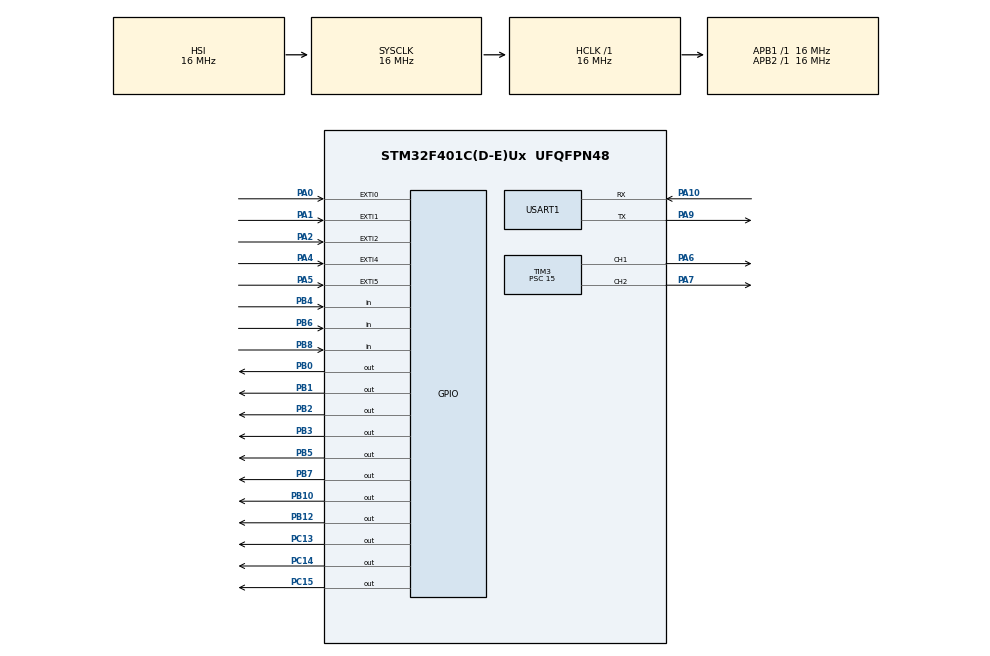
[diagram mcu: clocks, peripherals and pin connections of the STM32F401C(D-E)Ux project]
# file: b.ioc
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Mcu.Family=STM32F4
Mcu.Name=STM32F401C(D-E)Ux
Mcu.Package=UFQFPN48
NVIC.EXTI0_IRQn=true\:0\:0\:false\:false\:true\:true\:true\:true
NVIC.EXTI1_IRQn=true\:0\:0\:false\:false\:true\:true\:true\:true
NVIC.EXTI2_IRQn=true\:0\:0\:false\:false\:true\:true\:true\:true
NVIC.EXTI4_IRQn=true\:0\:0\:false\:false\:true\:true\:true\:true
NVIC.EXTI9_5_IRQn=true\:0\:0\:false\:false\:true\:true\:true\:true
NVIC.PriorityGroup=NVIC_PRIORITYGROUP_4
PA0-WKUP.GPIO_ModeDefaultEXTI=GPIO_MODE_IT_FALLING
PA0-WKUP.Signal=GPXTI0
PA1.GPIO_ModeDefaultEXTI=GPIO_MODE_IT_FALLING
PA1.Signal=GPXTI1
PA10.Mode=Asynchronous
PA10.Signal=USART1_RX
PA13.Mode=Serial_Wire
PA13.Signal=SYS_JTMS-SWDIO
PA14.Mode=Serial_Wire
PA14.Signal=SYS_JTCK-SWCLK
PA2.GPIO_ModeDefaultEXTI=GPIO_MODE_IT_FALLING
PA2.Signal=GPXTI2
PA4.Signal=GPXTI4
PA5.Signal=GPXTI5
PA6.Signal=S_TIM3_CH1
PA7.Signal=S_TIM3_CH2
PA9.Mode=Asynchronous
PA9.Signal=USART1_TX
PB0.Signal=GPIO_Output
PB1.Signal=GPIO_Output
PB10.Signal=GPIO_Output
PB12.Signal=GPIO_Output
PB2.Signal=GPIO_Output
PB3.Signal=GPIO_Output
PB4.Signal=GPIO_Input
PB5.Signal=GPIO_Output
PB6.Signal=GPIO_Input
PB7.Signal=GPIO_Output
PB8.Signal=GPIO_Input
PC13-ANTI_TAMP.Signal=GPIO_Output
PC14-OSC32_IN.GPIO_ModeDefaultOutputPP=GPIO_MODE_OUTPUT_OD
PC14-OSC32_IN.GPIO_PuPd=GPIO_PULLUP
PC14-OSC32_IN.Signal=GPIO_Output
PC15-OSC32_OUT.GPIO_ModeDefaultOutputPP=GPIO_MODE_OUTPUT_OD
PC15-OSC32_OUT.GPIO_PuPd=GPIO_PULLUP
PC15-OSC32_OUT.Signal=GPIO_Output
PH0\ -\ OSC_IN.Mode=HSE-External-Oscillator
PH0\ -\ OSC_IN.Signal=RCC_OSC_IN
PH1\ -\ OSC_OUT.Mode=HSE-External-Oscillator
PH1\ -\ OSC_OUT.Signal=RCC_OSC_OUT
ProjectManager.HeapSize=0x200
ProjectManager.StackSize=0x400
ProjectManager.TargetToolchain=STM32CubeIDE
RCC.AHBFreq_Value=16000000
RCC.APB1Freq_Value=16000000
RCC.APB2Freq_Value=16000000
RCC.CortexFreq_Value=16000000
RCC.HSE_VALUE=25000000
RCC.HSI_VALUE=16000000
RCC.LSE_VALUE=32768
RCC.SYSCLKFreq_VALUE=16000000
RCC.VCOOutputFreq_Value=192000000
SH.S_TIM3_CH1.0=TIM3_CH1,PWM Generation1 CH1
SH.S_TIM3_CH2.0=TIM3_CH2,PWM Generation2 CH2
TIM3.Channel-PWM\ Generation1\ CH1=TIM_CHANNEL_1
TIM3.Channel-PWM\ Generation2\ CH2=TIM_CHANNEL_2
TIM3.Period=999
TIM3.Prescaler=15
USART1.VirtualMode=VM_ASYNC
board=custom

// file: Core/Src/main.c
/* USER CODE BEGIN Header */
/**
  ******************************************************************************
  * @file           : main.c
  * @brief          : Main program body
  ******************************************************************************
  * @attention
  *
  * Copyright (c) 2026 STMicroelectronics.
  * All rights reserved.
  *
  * This software is licensed under terms that can be found in the LICENSE file
  * in the root directory of this software component.
  * If no LICENSE file comes with this software, it is provided AS-IS.
  *
  ******************************************************************************
  */
/* USER CODE END Header */
#include "main.h"

/* USER CODE BEGIN Includes */
#include <stdio.h>
# include "mpu6050.h"
# include <math.h>
/* USER CODE END Includes */

/* USER CODE BEGIN PTD */
typedef struct {
  uint32_t right;
  uint32_t middle;
  uint32_t left;
} UltrasonicReading;

typedef enum {
  DRIVE_RESULT_RIGHT_OPEN,
  DRIVE_RESULT_FRONT_WALL
} DriveResult;

/* USER CODE END PTD */

/* USER CODE BEGIN PD */
#define WALL_DETECT_CM 10   // ultrasonic reading above this = opening (no wall); at/below = wall present - tune by testing
/* USER CODE END PD */

TIM_HandleTypeDef htim3;

UART_HandleTypeDef huart1;

/* USER CODE BEGIN PV */
volatile uint32_t leftPulseCount = 0;
volatile uint32_t rightPulseCount = 0;
volatile uint32_t leftTotalCount = 0;
volatile uint32_t rightTotalCount = 0;
volatile uint8_t irLeftTriggered = 0;
volatile uint8_t irCenterTriggered = 0;
volatile uint8_t irRightTriggered = 0;

int32_t total_error = 0;
int32_t error = 0;
int32_t correction = 0;
static uint8_t solved = 0;

volatile float manual_max_dps = 0.0f;
volatile float manual_min_dps = 0.0f;
volatile uint8_t dps_is_saturated = 0;

/* USER CODE END PV */

void SystemClock_Config(void);
static void MX_GPIO_Init(void);
static void MX_TIM3_Init(void);
static void MX_USART1_UART_Init(void);
/* USER CODE BEGIN PFP */
void DriveUntil(int8_t leftDir, int8_t rightDir, uint32_t targetPulses);
void MoveForward(uint32_t targetPulses);
uint32_t PulsesForAngle(float angleDegrees);
void MazeSolveStep(void);
void TurnRight(float angleDegrees);
void TurnLeft(float angleDegrees);
static void DWT_Init(void);
static void DelayMicroseconds(uint32_t us);
uint32_t ReadUltrasonicCM(GPIO_TypeDef* trigPort, uint16_t trigPin, GPIO_TypeDef* echoPort, uint16_t echoPin);
UltrasonicReading ReadAllUltrasonic(void);
DriveResult DriveForwardAdaptive(void);
void take_turn(int8_t dir, float angle);
void take_turn_2(int8_t dir, float angle);
void check_gyro_saturation_manual(void);
void TestFreewheel(uint32_t speed, uint8_t useBrake);

/* USER CODE END PFP */

int main(void)
{

  /* MCU Configuration--------------------------------------------------------*/

  /* Reset of all peripherals, Initializes the Flash interface and the Systick. */
  HAL_Init();

  /* Configure the system clock */
  SystemClock_Config();

  /* Initialize all configured peripherals */
  MX_GPIO_Init();
  MX_TIM3_Init();
  MX_USART1_UART_Init();
  /* USER CODE BEGIN 2 */
  HAL_GPIO_WritePin(GPIOC, GPIO_PIN_13, GPIO_PIN_SET);
  DWT_Init();
  MPU6050_Init();

  HAL_TIM_PWM_Start(&htim3, TIM_CHANNEL_1);   // PWMB - PA6
  HAL_TIM_PWM_Start(&htim3, TIM_CHANNEL_2);   // PWMA - PA7

  HAL_GPIO_WritePin(GPIOB, GPIO_PIN_12, GPIO_PIN_SET);   // STBY = HIGH (enable driver)

  // Motor A forward: AIN1=1, AIN2=0
  HAL_GPIO_WritePin(GPIOB, GPIO_PIN_1, GPIO_PIN_SET);
  HAL_GPIO_WritePin(GPIOB, GPIO_PIN_0, GPIO_PIN_RESET);

  // Motor B forward: BIN1=1, BIN2=0
  HAL_GPIO_WritePin(GPIOB, GPIO_PIN_2, GPIO_PIN_SET);
  HAL_GPIO_WritePin(GPIOB, GPIO_PIN_10, GPIO_PIN_RESET);

  HAL_Delay(2000);   // 5 second delay before motors start

  //TestFreewheel(400,1); // to test free wheell
  //HAL_Delay(5000);

  //MoveForward(200);
  //HAL_Delay(100);

//	take_turn(1, 90.0);
//	HAL_Delay(300);
//	take_turn(1, 90.0);
//	HAL_Delay(300);
//	take_turn(1, 90.0);
//	HAL_Delay(300);
//	take_turn(1, 90.0);
//	HAL_Delay(300);

//  take_turn_2(1,90.0);
//  HAL_Delay(300);
//  take_turn_2(1,90.0);
//  HAL_Delay(3000);
//
//  take_turn_2(1,180.0);
//  HAL_Delay(300);
//  take_turn_2(1,180.0);
//  HAL_Delay(300);

//  check_gyro_saturation_manual();

//  uint8_t gyroConfig = MPU6050_ReadRegister(0x1B);
//  char msg[32];
//  int len = snprintf(msg, sizeof(msg), "GYRO_CONFIG: 0x%02X\r\n", gyroConfig);
//  HAL_UART_Transmit(&huart1, (uint8_t*)msg, len, 100);

  //__HAL_TIM_SET_COMPARE(&htim3, TIM_CHANNEL_1, 480); // Motor B speed (~50%)
  //__HAL_TIM_SET_COMPARE(&htim3, TIM_CHANNEL_2, 500); // Motor A speed (~50%)

  /* USER CODE END 2 */

  /* Infinite loop */
  /* USER CODE BEGIN WHILE */
  uint32_t lastLedToggle = 0;
  uint32_t lastUltrasonicRead = 0;
  uint32_t last_gyro_check = 0;
  float read_gyro_dps = 0;

  while (1)
  {
    /* USER CODE END WHILE */

    /* USER CODE BEGIN 3 */
	  if (solved)
	      {
	        HAL_GPIO_WritePin(GPIOC, GPIO_PIN_13, GPIO_PIN_RESET);  // LED solid on = done
	        continue;
	      }
	  else
	  {
		  MazeSolveStep();
	  }

    uint32_t now = HAL_GetTick();

		if (now - lastLedToggle >= 200)
		{
			lastLedToggle = now;
			HAL_GPIO_TogglePin(GPIOC, GPIO_PIN_13);
		}

  }
  /* USER CODE END 3 */
}

void SystemClock_Config(void)
{
  RCC_OscInitTypeDef RCC_OscInitStruct = {0};
  RCC_ClkInitTypeDef RCC_ClkInitStruct = {0};

  /** Configure the main internal regulator output voltage
  */
  __HAL_RCC_PWR_CLK_ENABLE();
  __HAL_PWR_VOLTAGESCALING_CONFIG(PWR_REGULATOR_VOLTAGE_SCALE2);

  /** Initializes the RCC Oscillators according to the specified parameters
  * in the RCC_OscInitTypeDef structure.
  */
  RCC_OscInitStruct.OscillatorType = RCC_OSCILLATORTYPE_HSI;
  RCC_OscInitStruct.HSIState = RCC_HSI_ON;
  RCC_OscInitStruct.HSICalibrationValue = RCC_HSICALIBRATION_DEFAULT;
  RCC_OscInitStruct.PLL.PLLState = RCC_PLL_NONE;
  if (HAL_RCC_OscConfig(&RCC_OscInitStruct) != HAL_OK)
  {
    Error_Handler();
  }

  /** Initializes the CPU, AHB and APB buses clocks
  */
  RCC_ClkInitStruct.ClockType = RCC_CLOCKTYPE_HCLK|RCC_CLOCKTYPE_SYSCLK
                              |RCC_CLOCKTYPE_PCLK1|RCC_CLOCKTYPE_PCLK2;
  RCC_ClkInitStruct.SYSCLKSource = RCC_SYSCLKSOURCE_HSI;
  RCC_ClkInitStruct.AHBCLKDivider = RCC_SYSCLK_DIV1;
  RCC_ClkInitStruct.APB1CLKDivider = RCC_HCLK_DIV1;
  RCC_ClkInitStruct.APB2CLKDivider = RCC_HCLK_DIV1;

  if (HAL_RCC_ClockConfig(&RCC_ClkInitStruct, FLASH_LATENCY_0) != HAL_OK)
  {
    Error_Handler();
  }
}

static void MX_TIM3_Init(void)
{

  TIM_MasterConfigTypeDef sMasterConfig = {0};
  TIM_OC_InitTypeDef sConfigOC = {0};

  htim3.Instance = TIM3;
  htim3.Init.Prescaler = 15;
  htim3.Init.CounterMode = TIM_COUNTERMODE_UP;
  htim3.Init.Period = 999;
  htim3.Init.ClockDivision = TIM_CLOCKDIVISION_DIV1;
  htim3.Init.AutoReloadPreload = TIM_AUTORELOAD_PRELOAD_DISABLE;
  if (HAL_TIM_PWM_Init(&htim3) != HAL_OK)
  {
    Error_Handler();
  }
  sMasterConfig.MasterOutputTrigger = TIM_TRGO_RESET;
  sMasterConfig.MasterSlaveMode = TIM_MASTERSLAVEMODE_DISABLE;
  if (HAL_TIMEx_MasterConfigSynchronization(&htim3, &sMasterConfig) != HAL_OK)
  {
    Error_Handler();
  }
  sConfigOC.OCMode = TIM_OCMODE_PWM1;
  sConfigOC.Pulse = 0;
  sConfigOC.OCPolarity = TIM_OCPOLARITY_HIGH;
  sConfigOC.OCFastMode = TIM_OCFAST_DISABLE;
  if (HAL_TIM_PWM_ConfigChannel(&htim3, &sConfigOC, TIM_CHANNEL_1) != HAL_OK)
  {
    Error_Handler();
  }
  if (HAL_TIM_PWM_ConfigChannel(&htim3, &sConfigOC, TIM_CHANNEL_2) != HAL_OK)
  {
    Error_Handler();
  }
  HAL_TIM_MspPostInit(&htim3);

}

static void MX_USART1_UART_Init(void)
{

  huart1.Instance = USART1;
  huart1.Init.BaudRate = 115200;
  huart1.Init.WordLength = UART_WORDLENGTH_8B;
  huart1.Init.StopBits = UART_STOPBITS_1;
  huart1.Init.Parity = UART_PARITY_NONE;
  huart1.Init.Mode = UART_MODE_TX_RX;
  huart1.Init.HwFlowCtl = UART_HWCONTROL_NONE;
  huart1.Init.OverSampling = UART_OVERSAMPLING_16;
  if (HAL_UART_Init(&huart1) != HAL_OK)
  {
    Error_Handler();
  }

}

static void MX_GPIO_Init(void)
{
  GPIO_InitTypeDef GPIO_InitStruct = {0};

  /* GPIO Ports Clock Enable */
  __HAL_RCC_GPIOC_CLK_ENABLE();
  __HAL_RCC_GPIOH_CLK_ENABLE();
  __HAL_RCC_GPIOA_CLK_ENABLE();
  __HAL_RCC_GPIOB_CLK_ENABLE();

  /*Configure GPIO pin Output Level */
  HAL_GPIO_WritePin(GPIOC, GPIO_PIN_13|GPIO_PIN_14|GPIO_PIN_15, GPIO_PIN_RESET);

  /*Configure GPIO pin Output Level */
  HAL_GPIO_WritePin(GPIOB, GPIO_PIN_0|GPIO_PIN_1|GPIO_PIN_2|GPIO_PIN_10
                          |GPIO_PIN_12|GPIO_PIN_3|GPIO_PIN_5|GPIO_PIN_7, GPIO_PIN_RESET);

  /*Configure GPIO pin : PC13 */
  GPIO_InitStruct.Pin = GPIO_PIN_13;
  GPIO_InitStruct.Mode = GPIO_MODE_OUTPUT_PP;
  GPIO_InitStruct.Pull = GPIO_NOPULL;
  GPIO_InitStruct.Speed = GPIO_SPEED_FREQ_LOW;
  HAL_GPIO_Init(GPIOC, &GPIO_InitStruct);

  /*Configure GPIO pins : PC14 PC15 */
  GPIO_InitStruct.Pin = GPIO_PIN_14|GPIO_PIN_15;
  GPIO_InitStruct.Mode = GPIO_MODE_OUTPUT_OD;
  GPIO_InitStruct.Pull = GPIO_PULLUP;
  GPIO_InitStruct.Speed = GPIO_SPEED_FREQ_LOW;
  HAL_GPIO_Init(GPIOC, &GPIO_InitStruct);

  /*Configure GPIO pins : PA0 PA1 PA2 */
  GPIO_InitStruct.Pin = GPIO_PIN_0|GPIO_PIN_1|GPIO_PIN_2;
  GPIO_InitStruct.Mode = GPIO_MODE_IT_FALLING;
  GPIO_InitStruct.Pull = GPIO_NOPULL;
  HAL_GPIO_Init(GPIOA, &GPIO_InitStruct);

  /*Configure GPIO pins : PA4 PA5 */
  GPIO_InitStruct.Pin = GPIO_PIN_4|GPIO_PIN_5;
  GPIO_InitStruct.Mode = GPIO_MODE_IT_RISING;
  GPIO_InitStruct.Pull = GPIO_NOPULL;
  HAL_GPIO_Init(GPIOA, &GPIO_InitStruct);

  /*Configure GPIO pins : PB0 PB1 PB2 PB10
                           PB12 PB3 PB5 PB7 */
  GPIO_InitStruct.Pin = GPIO_PIN_0|GPIO_PIN_1|GPIO_PIN_2|GPIO_PIN_10
                          |GPIO_PIN_12|GPIO_PIN_3|GPIO_PIN_5|GPIO_PIN_7;
  GPIO_InitStruct.Mode = GPIO_MODE_OUTPUT_PP;
  GPIO_InitStruct.Pull = GPIO_NOPULL;
  GPIO_InitStruct.Speed = GPIO_SPEED_FREQ_LOW;
  HAL_GPIO_Init(GPIOB, &GPIO_InitStruct);

  /*Configure GPIO pins : PB4 PB6 PB8 */
  GPIO_InitStruct.Pin = GPIO_PIN_4|GPIO_PIN_6|GPIO_PIN_8;
  GPIO_InitStruct.Mode = GPIO_MODE_INPUT;
  GPIO_InitStruct.Pull = GPIO_NOPULL;
  HAL_GPIO_Init(GPIOB, &GPIO_InitStruct);

  /* EXTI interrupt init*/
  HAL_NVIC_SetPriority(EXTI0_IRQn, 0, 0);
  HAL_NVIC_EnableIRQ(EXTI0_IRQn);

  HAL_NVIC_SetPriority(EXTI1_IRQn, 0, 0);
  HAL_NVIC_EnableIRQ(EXTI1_IRQn);

  HAL_NVIC_SetPriority(EXTI2_IRQn, 0, 0);
  HAL_NVIC_EnableIRQ(EXTI2_IRQn);

  HAL_NVIC_SetPriority(EXTI4_IRQn, 0, 0);
  HAL_NVIC_EnableIRQ(EXTI4_IRQn);

  HAL_NVIC_SetPriority(EXTI9_5_IRQn, 0, 0);
  HAL_NVIC_EnableIRQ(EXTI9_5_IRQn);

  /* USER CODE BEGIN MX_GPIO_Init_2 */
  __HAL_RCC_GPIOB_CLK_ENABLE();

  GPIO_InitStruct.Pin = GPIO_PIN_0 | GPIO_PIN_1 | GPIO_PIN_10; // AIN1, AIN2, STBY
  GPIO_InitStruct.Mode = GPIO_MODE_OUTPUT_PP;
  GPIO_InitStruct.Pull = GPIO_NOPULL;
  GPIO_InitStruct.Speed = GPIO_SPEED_FREQ_LOW;
  HAL_GPIO_Init(GPIOB, &GPIO_InitStruct);
  /* USER CODE END MX_GPIO_Init_2 */
}

/* USER CODE BEGIN 4 */
void HAL_GPIO_EXTI_Callback(uint16_t GPIO_Pin)
{
  if (GPIO_Pin == GPIO_PIN_4) { leftPulseCount++; leftTotalCount++; }
  else if (GPIO_Pin == GPIO_PIN_5) { rightPulseCount++; rightTotalCount++; }
  else if (GPIO_Pin == GPIO_PIN_0) { irRightTriggered = 1; }
  else if (GPIO_Pin == GPIO_PIN_1) { irCenterTriggered = 1; }
  else if (GPIO_Pin == GPIO_PIN_2) { irLeftTriggered = 1; }
}

// leftDir/rightDir: +1 = forward, -1 = backward, 0 = stopped (for future use)
void DriveUntil(int8_t leftDir, int8_t rightDir, uint32_t targetPulses)
{
  // Set left wheel (Motor B) direction
  if (leftDir > 0)      { HAL_GPIO_WritePin(GPIOB, GPIO_PIN_2, GPIO_PIN_SET);   HAL_GPIO_WritePin(GPIOB, GPIO_PIN_10, GPIO_PIN_RESET); }
  else if (leftDir < 0)  { HAL_GPIO_WritePin(GPIOB, GPIO_PIN_2, GPIO_PIN_RESET); HAL_GPIO_WritePin(GPIOB, GPIO_PIN_10, GPIO_PIN_SET); }

  // Set right wheel (Motor A) direction
  if (rightDir > 0)      { HAL_GPIO_WritePin(GPIOB, GPIO_PIN_1, GPIO_PIN_SET);   HAL_GPIO_WritePin(GPIOB, GPIO_PIN_0, GPIO_PIN_RESET); }
  else if (rightDir < 0)  { HAL_GPIO_WritePin(GPIOB, GPIO_PIN_1, GPIO_PIN_RESET); HAL_GPIO_WritePin(GPIOB, GPIO_PIN_0, GPIO_PIN_SET); }

  uint32_t startLeft  = leftTotalCount;
  uint32_t startRight = rightTotalCount;

  uint32_t BASE_SPEED = 400;   // <-- change this one value to adjust speed everywhere below

  uint32_t lastControlTime = HAL_GetTick();
  float integral = 0.0f;
  float lastError = 0.0f;
  const float Kp = 30.0f;
  const float Ki = 30.0f;
  const float Kd = 0.0f;
  const float INTEGRAL_LIMIT = 300.0f;
  uint32_t baseDutyLeft  = BASE_SPEED;
  uint32_t baseDutyRight = BASE_SPEED;

  // centering state - only active during straight moves, not turns
	uint32_t lastCenteringCheck = HAL_GetTick();
	float center_integral = 0.0f;
	float center_lastError = 0.0f;
	const float centerKp = 10.0f;
	const float centerKi = 5.0f;
	const float centerKd = 5.0f;
	const float CENTRAL_INTEGRAL_LIMIT = 200.0f;
	const uint32_t CENTERING_MAX_RANGE = 35;  // cm - ignore readings beyond this (no wall in range)
	uint8_t centeringEnabled = 0; // disabling centering

  int leftDone = 0, rightDone = 0;

  while (!leftDone || !rightDone)
  {
    uint32_t now = HAL_GetTick();

    if (centeringEnabled && (now - lastCenteringCheck >= 100))
    {
      lastCenteringCheck = now;

      uint32_t leftDist  = ReadUltrasonicCM(GPIOB, GPIO_PIN_5, GPIOB, GPIO_PIN_6);
      uint32_t rightDist = ReadUltrasonicCM(GPIOB, GPIO_PIN_3, GPIOB, GPIO_PIN_4);

      if (leftDist <= CENTERING_MAX_RANGE && rightDist <= CENTERING_MAX_RANGE)
      {
        int32_t centerError = (int32_t)leftDist - (int32_t)rightDist;

        center_integral += (float)centerError;

        if (center_integral > CENTRAL_INTEGRAL_LIMIT)  center_integral = CENTRAL_INTEGRAL_LIMIT;
        if (center_integral < -CENTRAL_INTEGRAL_LIMIT) center_integral = -CENTRAL_INTEGRAL_LIMIT;

        float centre_derivative = (float)centerError - center_lastError;
        center_lastError = centerError;
        int32_t centerBias  = (int32_t)(centerKp * (float)centerError + centerKi * center_integral + centerKd * centre_derivative);

        baseDutyLeft  = BASE_SPEED - centerBias;
        baseDutyRight = BASE_SPEED + centerBias;
      }
    }

    if (now - lastControlTime >= 1)
    {
      lastControlTime = now;

      __disable_irq();
      uint32_t left  = leftPulseCount;
      uint32_t right = rightPulseCount;
      leftPulseCount = 0;
      rightPulseCount = 0;
      __enable_irq();

      error = (int32_t)left - (int32_t)right;
      integral += (float)error;
      if (integral > INTEGRAL_LIMIT)  integral = INTEGRAL_LIMIT;
      if (integral < -INTEGRAL_LIMIT) integral = -INTEGRAL_LIMIT;

      float derivative = (float)error - lastError;
      lastError = (float)error;

      correction = (int32_t)(Kp * (float)error + Ki * integral + Kd * derivative);

      int32_t leftDuty, rightDuty;

      if (!leftDone && !rightDone)
      {
        // normal case: both still moving, use PI correction as before
        leftDuty  = (int32_t)baseDutyLeft  - correction;
        rightDuty = (int32_t)baseDutyRight + correction;
      }
      else
      {
        // one side already finished - stop cross-correcting, just drive the other plainly
        leftDuty  = leftDone  ? 0 : (int32_t)baseDutyLeft;
        rightDuty = rightDone ? 0 : (int32_t)baseDutyRight;
      }

      if (leftDuty  > 999) leftDuty  = 999;
      if (leftDuty  < 0)   leftDuty  = 0;
      if (rightDuty > 999) rightDuty = 999;
      if (rightDuty < 0)   rightDuty = 0;

      if ((leftTotalCount - startLeft) >= targetPulses)  { leftDuty = 0;  leftDone = 1; }
      if ((rightTotalCount - startRight) >= targetPulses) { rightDuty = 0; rightDone = 1; }

      __HAL_TIM_SET_COMPARE(&htim3, TIM_CHANNEL_1, leftDuty);
      __HAL_TIM_SET_COMPARE(&htim3, TIM_CHANNEL_2, rightDuty);
    }
  }

//  char msg[64];
//  int len = snprintf(msg, sizeof(msg), "DONE left:%lu right:%lu target:%lu\r\n",
//                      (unsigned long)(leftTotalCount - startLeft),
//                      (unsigned long)(rightTotalCount - startRight),
//                      (unsigned long)targetPulses);
//  HAL_UART_Transmit(&huart1, (uint8_t*)msg, len, 100);
}

// Drives forward continuously, using only ultrasonic sensors (right/front/left) - no IR.
// Stops either when the right side opens up (past a small nudge to clear the sensor's
// forward offset) or when the front wall gets within STOP_DISTANCE_CM.

void take_turn_2(int8_t dir, float angle)
{
	float turn_sum = 0;
	uint32_t lastControlTime = HAL_GetTick();
	uint32_t last_gyro_check = HAL_GetTick();
	float integral = 0.0f;
	float lastError = 0.0f;

	// Motor PID constants
	const float Kp = 30.0f;
	const float Ki = 30.0f;
	const float Kd = 0.0f;
	const float INTEGRAL_LIMIT = 300.0f;
	const uint32_t gyro_check = 2;

	// Variable for time - moved to top so it stays in scope after the turn loop
	uint32_t now;

	// Variables for error and correction
	int32_t error = 0;
	int32_t correction = 0;

	// Dynamic Speed Parameters for Proportional Deceleration
	const uint32_t MIN_SPEED = 340;
	const uint32_t MAX_SPEED = 500;
	const float Kp_angle = 5.0f;

	if (dir == 0)
	{
		// Left wheel backward
		HAL_GPIO_WritePin(GPIOB, GPIO_PIN_2, GPIO_PIN_RESET);
		HAL_GPIO_WritePin(GPIOB, GPIO_PIN_10, GPIO_PIN_SET);
		// Right wheel forward
		HAL_GPIO_WritePin(GPIOB, GPIO_PIN_1, GPIO_PIN_SET);
		HAL_GPIO_WritePin(GPIOB, GPIO_PIN_0, GPIO_PIN_RESET);
	} else
	{
		// Left wheel Forward
		HAL_GPIO_WritePin(GPIOB, GPIO_PIN_2, GPIO_PIN_SET);
		HAL_GPIO_WritePin(GPIOB, GPIO_PIN_10, GPIO_PIN_RESET);
		// Right wheel Backward
		HAL_GPIO_WritePin(GPIOB, GPIO_PIN_1, GPIO_PIN_RESET);
		HAL_GPIO_WritePin(GPIOB, GPIO_PIN_0, GPIO_PIN_SET);
	}

	while (fabsf(turn_sum) <= angle - 17.0)
	{
		// --- Dynamic Speed Profiling ---
		// Calculate how many degrees are left to turn
		float angle_remaining = angle - fabsf(turn_sum);

		// Calculate base speed proportionally based on remaining angle
		uint32_t current_base_speed = (uint32_t)(angle_remaining * Kp_angle);

		// Clamp the speed so it doesn't exceed maximum or drop below stall limit
		if (current_base_speed > MAX_SPEED) current_base_speed = MAX_SPEED;
		if (current_base_speed < MIN_SPEED) current_base_speed = MIN_SPEED;

		uint32_t baseDutyLeft  = current_base_speed;
		uint32_t baseDutyRight = current_base_speed;

		now = HAL_GetTick();

		// --- Encoder PID Control ---
		if (now - lastControlTime >= 1)
		{
			lastControlTime = now;

			__disable_irq();
			uint32_t left  = leftPulseCount;
			uint32_t right = rightPulseCount;
			leftPulseCount = 0;
			rightPulseCount = 0;
			__enable_irq();

			error = (int32_t)left - (int32_t)right;
			integral += (float)error;

			// Integral windup guard
			if (integral > INTEGRAL_LIMIT)  integral = INTEGRAL_LIMIT;
			if (integral < -INTEGRAL_LIMIT) integral = -INTEGRAL_LIMIT;

			float derivative = (float)error - lastError;
			lastError = (float)error;

			correction = (int32_t)(Kp * (float)error + Ki * integral + Kd * derivative);

			int32_t leftDuty  = (int32_t)baseDutyLeft  - correction;
			int32_t rightDuty = (int32_t)baseDutyRight + correction;

			if (leftDuty  > 999) leftDuty  = 999;
			if (leftDuty  < 0)   leftDuty  = 0;
			if (rightDuty > 999) rightDuty = 999;
			if (rightDuty < 0)   rightDuty = 0;

			__HAL_TIM_SET_COMPARE(&htim3, TIM_CHANNEL_1, leftDuty);
			__HAL_TIM_SET_COMPARE(&htim3, TIM_CHANNEL_2, rightDuty);
		}

		// --- Gyroscope Angle Integration ---
		if (now - last_gyro_check >= gyro_check)
		{
			float dt = (now - last_gyro_check) * 0.001f;   // actual elapsed ms -> seconds
			last_gyro_check = now;
			turn_sum += MPU6050_ReadGyroZ_DPS() * dt;
		}
	}

	// --- Active Braking ---
	__HAL_TIM_SET_COMPARE(&htim3, TIM_CHANNEL_1, 0);
	__HAL_TIM_SET_COMPARE(&htim3, TIM_CHANNEL_2, 0);

	// Both direction pins HIGH shorts the motor terminals,
	// using back-EMF to kill momentum fast instead of coasting
	HAL_GPIO_WritePin(GPIOB, GPIO_PIN_2, GPIO_PIN_SET);   // BIN1
	HAL_GPIO_WritePin(GPIOB, GPIO_PIN_10, GPIO_PIN_SET);  // BIN2
	HAL_GPIO_WritePin(GPIOB, GPIO_PIN_1, GPIO_PIN_SET);   // AIN1
	HAL_GPIO_WritePin(GPIOB, GPIO_PIN_0, GPIO_PIN_SET);   // AIN2

	// instead of a blind delay, keep recording turn_sum during the brake hold
	uint32_t record_more_start = HAL_GetTick();
	now = HAL_GetTick();
	float turn_sum_extra = turn_sum;
	while (now - record_more_start <= 100)
	{
		now = HAL_GetTick();
		if (now - last_gyro_check >= gyro_check)
		{
			float dt = (now - last_gyro_check) * 0.001f; // actual elapsed ms -> seconds
			last_gyro_check = now;
			turn_sum_extra += MPU6050_ReadGyroZ_DPS() * dt;
		}
	}

	// Release to coast/off afterward so the motors aren't held under load
	HAL_GPIO_WritePin(GPIOB, GPIO_PIN_2, GPIO_PIN_RESET);
	HAL_GPIO_WritePin(GPIOB, GPIO_PIN_10, GPIO_PIN_RESET);
	HAL_GPIO_WritePin(GPIOB, GPIO_PIN_1, GPIO_PIN_RESET);
	HAL_GPIO_WritePin(GPIOB, GPIO_PIN_0, GPIO_PIN_RESET);

	char msg[64];
	int len = snprintf(msg, sizeof(msg), "turn_sum: %.2f | turn_sum_extra: %.2f\r\n", turn_sum, turn_sum_extra);
	HAL_UART_Transmit(&huart1, (uint8_t*)msg, len, 100);
}

// dir-> 0:left , 1 right

void check_gyro_saturation_manual(void)
{
    // 1. Reset the debug variables
    manual_max_dps = 0.0f;
    manual_min_dps = 0.0f;
    dps_is_saturated = 0;

    // 2. Ensure motors are completely off
    __HAL_TIM_SET_COMPARE(&htim3, TIM_CHANNEL_1, 0);
    __HAL_TIM_SET_COMPARE(&htim3, TIM_CHANNEL_2, 0);
    HAL_GPIO_WritePin(GPIOB, GPIO_PIN_2, GPIO_PIN_RESET);
    HAL_GPIO_WritePin(GPIOB, GPIO_PIN_10, GPIO_PIN_RESET);
    HAL_GPIO_WritePin(GPIOB, GPIO_PIN_1, GPIO_PIN_RESET);
    HAL_GPIO_WritePin(GPIOB, GPIO_PIN_0, GPIO_PIN_RESET);

    // 3. Infinite loop to monitor while you spin it by hand
    while (1)
    {
        // Read the actual Degrees Per Second
        float current_dps = MPU6050_ReadGyroZ_DPS();

        // Track the highest and lowest DPS recorded
        if (current_dps > manual_max_dps) manual_max_dps = current_dps;
        if (current_dps < manual_min_dps) manual_min_dps = current_dps;

        // The absolute ceiling is ~1998 dps.
        // We check against 1990 to allow a tiny margin for calibration offsets.
        if (current_dps >= 1990.0f || current_dps <= -1990.0f)
        {
            dps_is_saturated = 1;
        }

        // 2ms delay to simulate your standard polling rate
        HAL_Delay(2);
    }
}

void TestFreewheel(uint32_t speed, uint8_t useBrake)
{
  HAL_GPIO_WritePin(GPIOC, GPIO_PIN_13, GPIO_PIN_SET);
  HAL_Delay(5000);
  // spin both wheels forward
  HAL_GPIO_WritePin(GPIOB, GPIO_PIN_2, GPIO_PIN_SET);   HAL_GPIO_WritePin(GPIOB, GPIO_PIN_10, GPIO_PIN_RESET); // left fwd
  HAL_GPIO_WritePin(GPIOB, GPIO_PIN_1, GPIO_PIN_SET);   HAL_GPIO_WritePin(GPIOB, GPIO_PIN_0, GPIO_PIN_RESET);  // right fwd

  __HAL_TIM_SET_COMPARE(&htim3, TIM_CHANNEL_1, speed);
  __HAL_TIM_SET_COMPARE(&htim3, TIM_CHANNEL_2, speed);

  HAL_Delay(2000);   // spin for 2 seconds

  // cut PWM either way
  __HAL_TIM_SET_COMPARE(&htim3, TIM_CHANNEL_1, 0);
  __HAL_TIM_SET_COMPARE(&htim3, TIM_CHANNEL_2, 0);

  if (useBrake)
  {
    // active brake: both direction pins HIGH shorts the motor terminals
    HAL_GPIO_WritePin(GPIOB, GPIO_PIN_2, GPIO_PIN_SET);
    HAL_GPIO_WritePin(GPIOB, GPIO_PIN_10, GPIO_PIN_SET);
    HAL_GPIO_WritePin(GPIOB, GPIO_PIN_1, GPIO_PIN_SET);
    HAL_GPIO_WritePin(GPIOB, GPIO_PIN_0, GPIO_PIN_SET);

    // LED turns on the instant the brake is applied - watch the wheel starting now
    HAL_GPIO_WritePin(GPIOC, GPIO_PIN_13, GPIO_PIN_RESET);

    HAL_Delay(500);   // hold the brake briefly

    // release afterward so motors aren't held under load
    HAL_GPIO_WritePin(GPIOB, GPIO_PIN_2, GPIO_PIN_RESET);
    HAL_GPIO_WritePin(GPIOB, GPIO_PIN_10, GPIO_PIN_RESET);
    HAL_GPIO_WritePin(GPIOB, GPIO_PIN_1, GPIO_PIN_RESET);
    HAL_GPIO_WritePin(GPIOB, GPIO_PIN_0, GPIO_PIN_RESET);
  }
  else
  {
    // coast: both direction pins LOW
    HAL_GPIO_WritePin(GPIOB, GPIO_PIN_2, GPIO_PIN_RESET);
    HAL_GPIO_WritePin(GPIOB, GPIO_PIN_10, GPIO_PIN_RESET);
    HAL_GPIO_WritePin(GPIOB, GPIO_PIN_1, GPIO_PIN_RESET);
    HAL_GPIO_WritePin(GPIOB, GPIO_PIN_0, GPIO_PIN_RESET);

    // LED turns on the instant power is cut - watch the wheel starting now
    HAL_GPIO_WritePin(GPIOC, GPIO_PIN_13, GPIO_PIN_RESET);
  }
}

// right = 1 , left = 0
void take_turn(int8_t dir, float angle)
{
	float turn_sum = 0;
	uint32_t lastControlTime = HAL_GetTick();
	uint32_t last_gyro_check = HAL_GetTick();
	float integral = 0.0f;
	float lastError = 0.0f;
	const float Kp = 30.0f;
	const float Ki = 30.0f;
	const float Kd = 0.0f;
	const float INTEGRAL_LIMIT = 300.0f;
	const uint32_t gyro_check = 2;

	// Variable for time
	uint32_t now;

	uint32_t BASE_SPEED = 450;   // <-- change this one value to adjust speed everywhere below
	uint32_t baseDutyLeft  = BASE_SPEED;
	uint32_t baseDutyRight = BASE_SPEED;

	if (dir == 0)
	{
		//Left wheel backward
		HAL_GPIO_WritePin(GPIOB, GPIO_PIN_2, GPIO_PIN_RESET);
		HAL_GPIO_WritePin(GPIOB, GPIO_PIN_10, GPIO_PIN_SET);
		// Right wheel forward
		HAL_GPIO_WritePin(GPIOB, GPIO_PIN_1, GPIO_PIN_SET);
		HAL_GPIO_WritePin(GPIOB, GPIO_PIN_0, GPIO_PIN_RESET);
	} else
	{
		// Left wheel Forward
		HAL_GPIO_WritePin(GPIOB, GPIO_PIN_2, GPIO_PIN_SET);
		HAL_GPIO_WritePin(GPIOB, GPIO_PIN_10, GPIO_PIN_RESET);
		//Right wheel Backward
		HAL_GPIO_WritePin(GPIOB, GPIO_PIN_1, GPIO_PIN_RESET);
		HAL_GPIO_WritePin(GPIOB, GPIO_PIN_0, GPIO_PIN_SET);
	}

	while (fabsf(turn_sum) <= angle)
	{
		now = HAL_GetTick();
		if (now - lastControlTime >= 1)
		    {
		      lastControlTime = now;

		      __disable_irq();
		      uint32_t left  = leftPulseCount;
		      uint32_t right = rightPulseCount;
		      leftPulseCount = 0;
		      rightPulseCount = 0;
		      __enable_irq();

		      error = (int32_t)left - (int32_t)right;
		      integral += (float)error;
		      //integral windup
		      if (integral > INTEGRAL_LIMIT)  integral = INTEGRAL_LIMIT;
		      if (integral < -INTEGRAL_LIMIT) integral = -INTEGRAL_LIMIT;

		      float derivative = (float)error - lastError;
		      lastError = (float)error;

		      correction = (int32_t)(Kp * (float)error + Ki * integral + Kd * derivative);

		      int32_t leftDuty  = (int32_t)baseDutyLeft  - correction;
		      int32_t rightDuty = (int32_t)baseDutyRight + correction;

		      if (leftDuty  > 999) leftDuty  = 999;
		      if (leftDuty  < 0)   leftDuty  = 0;
		      if (rightDuty > 999) rightDuty = 999;
		      if (rightDuty < 0)   rightDuty = 0;

			  __HAL_TIM_SET_COMPARE(&htim3, TIM_CHANNEL_1, leftDuty);
			  __HAL_TIM_SET_COMPARE(&htim3, TIM_CHANNEL_2, rightDuty);
	}
		if (now - last_gyro_check >= gyro_check)
		{
			float dt = (now - last_gyro_check) * 0.001f;   // actual elapsed ms -> seconds
			last_gyro_check = now;
			//turn_sum += MPU6050_ReadGyroZ_DPS() * (gyro_check * 0.001f);
			turn_sum += MPU6050_ReadGyroZ_DPS() * dt;
		}

	}
	  __HAL_TIM_SET_COMPARE(&htim3, TIM_CHANNEL_1, 0);
	  __HAL_TIM_SET_COMPARE(&htim3, TIM_CHANNEL_2, 0);
	  // active brake: both direction pins HIGH shorts the motor terminals,
	  // using back-EMF to kill momentum fast instead of coasting
	  HAL_GPIO_WritePin(GPIOB, GPIO_PIN_2, GPIO_PIN_SET);   // BIN1
	  HAL_GPIO_WritePin(GPIOB, GPIO_PIN_10, GPIO_PIN_SET);  // BIN2
	  HAL_GPIO_WritePin(GPIOB, GPIO_PIN_1, GPIO_PIN_SET);   // AIN1
	  HAL_GPIO_WritePin(GPIOB, GPIO_PIN_0, GPIO_PIN_SET);   // AIN2

	  //HAL_Delay(100);   // hold the brake briefly so momentum actually bleeds off
	  uint32_t record_more_start = HAL_GetTick();
	  now = HAL_GetTick();
	  float turn_sum_extra = turn_sum;
	  while (now - record_more_start <= 100)
	  {
		now = HAL_GetTick();
		if (now - last_gyro_check >= gyro_check)
		{
			float dt = (now - last_gyro_check) * 0.001f; // actual elapsed ms -> seconds
			last_gyro_check = now;
			//turn_sum += MPU6050_ReadGyroZ_DPS() * (gyro_check * 0.001f);
			turn_sum_extra += MPU6050_ReadGyroZ_DPS() * dt;
		}

	  }

	  // release to coast/off afterward so the motors aren't held under load
	  HAL_GPIO_WritePin(GPIOB, GPIO_PIN_2, GPIO_PIN_RESET);
	  HAL_GPIO_WritePin(GPIOB, GPIO_PIN_10, GPIO_PIN_RESET);
	  HAL_GPIO_WritePin(GPIOB, GPIO_PIN_1, GPIO_PIN_RESET);
	  HAL_GPIO_WritePin(GPIOB, GPIO_PIN_0, GPIO_PIN_RESET);

	  char msg[64];
	  int len = snprintf(msg, sizeof(msg), "turn_sum: %.2f | turn_sum_extra: %.2f\r\n", turn_sum,turn_sum_extra);
	  HAL_UART_Transmit(&huart1, (uint8_t*)msg, len, 100);
}

DriveResult DriveForwardAdaptive(void)
{
  HAL_GPIO_WritePin(GPIOB, GPIO_PIN_2, GPIO_PIN_SET);   HAL_GPIO_WritePin(GPIOB, GPIO_PIN_10, GPIO_PIN_RESET); // left fwd
  HAL_GPIO_WritePin(GPIOB, GPIO_PIN_1, GPIO_PIN_SET);   HAL_GPIO_WritePin(GPIOB, GPIO_PIN_0, GPIO_PIN_RESET);  // right fwd

  uint32_t BASE_SPEED = 430;   // <-- change this one value to adjust forward speed everywhere below
  uint32_t BASE_SPEEDRIGHT = BASE_SPEED + 15;

  uint32_t lastControlTime = HAL_GetTick();
  float integral = 0.0f, lastError = 0.0f;
  const float Kp = 30.0f, Ki = 30.0f, Kd = 0.0f, INTEGRAL_LIMIT = 300.0f;

  float center_integral = 0.0f, center_lastError = 0.0f;
  const float centerKp = 12.0f, centerKi = 2.0f, centerKd = 2.0f, CENTRAL_INTEGRAL_LIMIT = 200.0f;
  const uint32_t CENTERING_MAX_RANGE = 20;

  uint32_t lastSensorCheck = HAL_GetTick();
  const uint32_t APPROACH_DISTANCE_CM = 25;
  const uint32_t STOP_DISTANCE_CM = 4;
  uint8_t approaching = 0;

  uint8_t rightOpenDetected = 0;
  uint32_t nudgeStartPulses = 0;
  const uint32_t RIGHT_OPEN_NUDGE_PULSES = 12;

  uint32_t baseDutyLeft = BASE_SPEED, baseDutyRight = BASE_SPEED;

  while (1)
  {
    uint32_t now = HAL_GetTick();

    if (rightOpenDetected && (leftTotalCount - nudgeStartPulses) >= RIGHT_OPEN_NUDGE_PULSES)
    {
      __HAL_TIM_SET_COMPARE(&htim3, TIM_CHANNEL_1, 0);
      __HAL_TIM_SET_COMPARE(&htim3, TIM_CHANNEL_2, 0);
      char msg[64];
      int len = snprintf(msg, sizeof(msg), "Right Detected\r\n");
      HAL_UART_Transmit(&huart1, (uint8_t*)msg, len, 100);
      return DRIVE_RESULT_RIGHT_OPEN;
    }

    if (now - lastSensorCheck >= 10)
    {
      lastSensorCheck = now;
      uint32_t rightDist = ReadUltrasonicCM(GPIOB, GPIO_PIN_3, GPIOB, GPIO_PIN_4);

      if (!rightOpenDetected && rightDist > WALL_DETECT_CM)
      {
        rightOpenDetected = 1;
        nudgeStartPulses = leftTotalCount;

      }

      uint32_t frontDist = ReadUltrasonicCM(GPIOB, GPIO_PIN_7, GPIOB, GPIO_PIN_8);

      if (frontDist <= STOP_DISTANCE_CM)
      {
        __HAL_TIM_SET_COMPARE(&htim3, TIM_CHANNEL_1, 0);
        __HAL_TIM_SET_COMPARE(&htim3, TIM_CHANNEL_2, 0);
        char msg[64];
        int len = snprintf(msg, sizeof(msg), "Front Detected\r\n");
        HAL_UART_Transmit(&huart1, (uint8_t*)msg, len, 100);
        if (!rightOpenDetected)
        {
        	return DRIVE_RESULT_FRONT_WALL;
        }
      }
      approaching = (frontDist <= APPROACH_DISTANCE_CM);

      if (!approaching && !rightOpenDetected)
      {
        uint32_t leftDist = ReadUltrasonicCM(GPIOB, GPIO_PIN_5, GPIOB, GPIO_PIN_6);

        if (leftDist <= CENTERING_MAX_RANGE && rightDist <= CENTERING_MAX_RANGE)
        {
          int32_t centerError = (int32_t)leftDist - (int32_t)rightDist;
          center_integral += (float)centerError;
          if (center_integral > CENTRAL_INTEGRAL_LIMIT)  center_integral = CENTRAL_INTEGRAL_LIMIT;
          if (center_integral < -CENTRAL_INTEGRAL_LIMIT) center_integral = -CENTRAL_INTEGRAL_LIMIT;
          float centre_derivative = (float)centerError - center_lastError;
          center_lastError = (float)centerError;
          int32_t centerBias = (int32_t)(centerKp*(float)centerError + centerKi*center_integral + centerKd*centre_derivative);
          baseDutyLeft  = BASE_SPEED - centerBias;
          baseDutyRight = BASE_SPEEDRIGHT + centerBias; //// changessss made revert
        }
      }
      else
      {
        baseDutyLeft = BASE_SPEED;
        baseDutyRight = BASE_SPEED;
      }
    }

    if (now - lastControlTime >= 1)
    {
      lastControlTime = now;
      __disable_irq();
      uint32_t left = leftPulseCount, right = rightPulseCount;
      leftPulseCount = 0; rightPulseCount = 0;
      __enable_irq();

      error = (int32_t)left - (int32_t)right;
      integral += (float)error;
      if (integral > INTEGRAL_LIMIT) integral = INTEGRAL_LIMIT;
      if (integral < -INTEGRAL_LIMIT) integral = -INTEGRAL_LIMIT;
      float derivative = (float)error - lastError;
      lastError = (float)error;
      correction = (int32_t)(Kp*(float)error + Ki*integral + Kd*derivative);

      int32_t leftDuty  = (int32_t)baseDutyLeft  - correction;
      int32_t rightDuty = (int32_t)baseDutyRight + correction;
      if (leftDuty  > 999) leftDuty  = 999;
      if (leftDuty  < 0)   leftDuty  = 0;
      if (rightDuty > 999) rightDuty = 999;
      if (rightDuty < 0)   rightDuty = 0;

      __HAL_TIM_SET_COMPARE(&htim3, TIM_CHANNEL_1, leftDuty);
      __HAL_TIM_SET_COMPARE(&htim3, TIM_CHANNEL_2, rightDuty);
    }
  }
}

void MoveForward(uint32_t targetPulses)
{
  DriveUntil(+1, +1, targetPulses);   // both wheels forward
}

// pulses = angle * wheelbase * slots / (360 * wheel_diameter), for your 131mm wheelbase, 20-slot disc, 66mm wheel
uint32_t PulsesForAngle(float angleDegrees)
{
  float pulses = angleDegrees * 110.0f * 20.0f / (360.0f * 66.0f);
  return (uint32_t)(pulses + 0.5f);  // round to nearest whole pulse
}

void TurnRight(float angleDegrees)
{
  uint32_t targetPulses = PulsesForAngle(angleDegrees);
  DriveUntil(+1, -1, targetPulses);   // left wheel forward, right wheel backward -> pivots clockwise (right)
}

void TurnLeft(float angleDegrees)
{
  uint32_t targetPulses = PulsesForAngle(angleDegrees);
  DriveUntil(-1, +1, targetPulses);   // left wheel backward, right wheel forward -> pivots counter-clockwise (left)
}

void MazeSolveStep(void)
{
  uint32_t rightDist = ReadUltrasonicCM(GPIOB, GPIO_PIN_3, GPIOB, GPIO_PIN_4);
  HAL_Delay(10);
  uint32_t frontDist = ReadUltrasonicCM(GPIOB, GPIO_PIN_7, GPIOB, GPIO_PIN_8);
  HAL_Delay(10);
  uint32_t leftDist  = ReadUltrasonicCM(GPIOB, GPIO_PIN_5, GPIOB, GPIO_PIN_6);

  char msg[64];
  int len = snprintf(msg, sizeof(msg), "STEP R:%lu F:%lu L:%lu\r\n", rightDist, frontDist, leftDist);
  HAL_UART_Transmit(&huart1, (uint8_t*)msg, len, 100);

  if (rightDist >= 25 && frontDist >= 25 && leftDist >= 25)
  {
    solved = 1;
    char msg[] = "MAZE SOLVED\r\n";
    HAL_UART_Transmit(&huart1, (uint8_t*)msg, sizeof(msg)-1, 100);
    return;
  }

  DriveResult result = DriveForwardAdaptive();

  if (result == DRIVE_RESULT_RIGHT_OPEN)
  {
    HAL_Delay(100);
    take_turn_2(1,90.0);
    HAL_Delay(100);
    MoveForward(10);
    HAL_Delay(100);
    return;
  }

  uint32_t leftCheck = ReadUltrasonicCM(GPIOB, GPIO_PIN_5, GPIOB, GPIO_PIN_6);

  if (leftCheck > WALL_DETECT_CM)
  {
    HAL_Delay(100);
    take_turn_2(0,90.0);
    HAL_Delay(100);
    MoveForward(10);
    HAL_Delay(100);
  }
  else
  {
    HAL_Delay(100);
    take_turn_2(1,180.0);
    HAL_Delay(100);
    MoveForward(13);
    HAL_Delay(100);
  }
}

static void DWT_Init(void)
{
  CoreDebug->DEMCR |= CoreDebug_DEMCR_TRCENA_Msk;
  DWT->CYCCNT = 0;
  DWT->CTRL |= DWT_CTRL_CYCCNTENA_Msk;
}

static void DelayMicroseconds(uint32_t us)
{
  uint32_t startCycles = DWT->CYCCNT;
  uint32_t delayCycles = us * (SystemCoreClock / 1000000);
  while ((DWT->CYCCNT - startCycles) < delayCycles);
}

uint32_t ReadUltrasonicCM(GPIO_TypeDef* trigPort, uint16_t trigPin, GPIO_TypeDef* echoPort, uint16_t echoPin)
{
  HAL_GPIO_WritePin(trigPort, trigPin, GPIO_PIN_RESET);
  DelayMicroseconds(2);
  HAL_GPIO_WritePin(trigPort, trigPin, GPIO_PIN_SET);
  DelayMicroseconds(10);
  HAL_GPIO_WritePin(trigPort, trigPin, GPIO_PIN_RESET);

  uint32_t waitStart = DWT->CYCCNT;
  while (HAL_GPIO_ReadPin(echoPort, echoPin) == GPIO_PIN_RESET)
  {
    if ((DWT->CYCCNT - waitStart) > (SystemCoreClock / 1000) * 30) return 999; // no echo - nothing in range
  }

  uint32_t startCycles = DWT->CYCCNT;
  uint8_t timedOut = 0;
  while (HAL_GPIO_ReadPin(echoPort, echoPin) == GPIO_PIN_SET)
  {
    if ((DWT->CYCCNT - startCycles) > (SystemCoreClock / 1000) * 30) { timedOut = 1; break; }
  }
  if (timedOut) return 999;

  uint32_t endCycles = DWT->CYCCNT;
  uint32_t pulseMicros = (endCycles - startCycles) / (SystemCoreClock / 1000000);
  return pulseMicros / 58;
}

UltrasonicReading ReadAllUltrasonic(void)
{
  UltrasonicReading u;
  u.right  = ReadUltrasonicCM(GPIOB, GPIO_PIN_3, GPIOB, GPIO_PIN_4);
  HAL_Delay(10);   // brief pause so sensors don't cross-talk with each other's echoes
  u.left = ReadUltrasonicCM(GPIOB, GPIO_PIN_5, GPIOB, GPIO_PIN_6);
  HAL_Delay(10);
  u.middle   = ReadUltrasonicCM(GPIOB, GPIO_PIN_7, GPIOB, GPIO_PIN_8);
  return u;
}

/* USER CODE END 4 */

void Error_Handler(void)
{
  __disable_irq();
  while (1)
  {
  }
}
